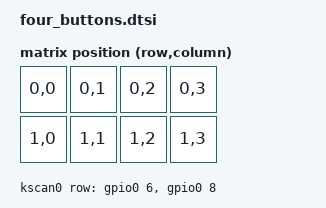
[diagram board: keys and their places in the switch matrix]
#include <dt-bindings/zmk/matrix_transform.h> // Put this with the other includes at the top of your dtsi

/ {
    default_transform: keymap_transform0 {
        compatible = "zmk,matrix-transform";
        columns = <4>;
        rows = <2>;
        map = <
        //  LKey 1 |LKey 2       RKey 1 |RKey 2
            RC(0,0) RC(0,1)      RC(0,2) RC(0,3)
        //  LKey 3 |LKey 4       RKey 3 |RKey 4
            RC(1,0) RC(1,1)      RC(1,2) RC(1,3)
        >;
    };
};

/ {
    kscan0: kscan0 {
        compatible = "zmk,kscan-gpio-matrix";
        diode-direction = "row2col";
        wakeup-source;

        row-gpios
            = <&gpio0 6 (GPIO_ACTIVE_HIGH)>
            , <&gpio0 8 (GPIO_ACTIVE_HIGH)>
            ;

    };
};


// Doing this here for basic, no support for ZMK Studio. See here: https://zmk.dev/docs/development/hardware-integration/new-shield?keyboard-type=split&interconnect=pro_micro&physical-layouts=basic
/ {
    physical_layout0: physical_layout_0 { // First physical layout, use different naming for other layouts
        compatible = "zmk,physical-layout";
        display-name = "Default Layout";
        kscan = <&kscan0>; // Label of the kscan node, optional if all layouts use the same
        transform = <&default_transform>; // Label of the matrix transform for this layout
    };
};

/ {
    chosen {
        zmk,physical-layout = &physical_layout0;
        // Other chosen items
    };
};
